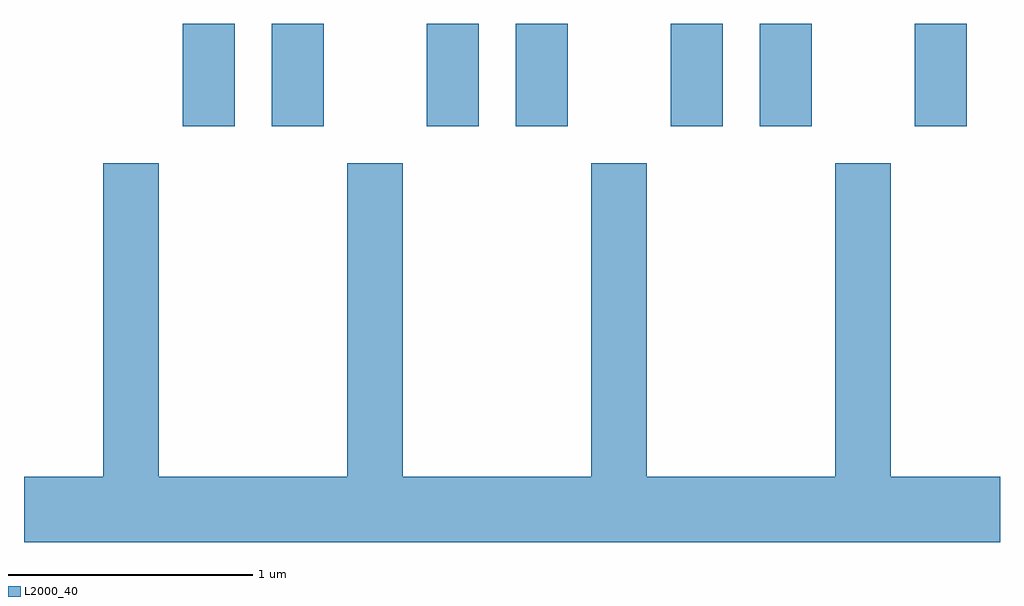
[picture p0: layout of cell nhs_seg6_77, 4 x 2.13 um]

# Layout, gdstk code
import gdstk
lib = gdstk.Library(unit=1e-6, precision=1e-09)
def R(c, l, rs):  # rectangles x0, y0, x1, y1
    for r in rs: c.add(gdstk.rectangle(r[:2], r[2:], *l))
def P(c, l, *ps):  # polygons
    for p in ps: c.add(gdstk.Polygon(p, *l))
L2000_40 = (2000, 40)

nhs_seg6_77 = lib.new_cell('nhs_seg6_77')
R(nhs_seg6_77, L2000_40, [(188.261,1551.741,188.474,1552.162), (188.626,1551.741,188.839,1552.162), (189.261,1551.741,189.474,1552.162), (189.626,1551.741,189.839,1552.162), (190.261,1551.741,190.474,1552.162), (190.626,1551.741,190.839,1552.162), (191.261,1551.741,191.474,1552.162)])
P(nhs_seg6_77, L2000_40, [(191.611,1550.304),(191.164,1550.304),(191.164,1551.589),(190.936,1551.589),(190.936,1550.304),(190.164,1550.304),(190.164,1551.589),(189.936,1551.589),(189.936,1550.304),(189.164,1550.304),(189.164,1551.589),(188.936,1551.589),(188.936,1550.304),(188.164,1550.304),(188.164,1551.589),(187.936,1551.589),(187.936,1550.304),(187.611,1550.304),(187.611,1550.036),(191.611,1550.036)])

lib.write_gds('nhs_seg6_77.gds')
